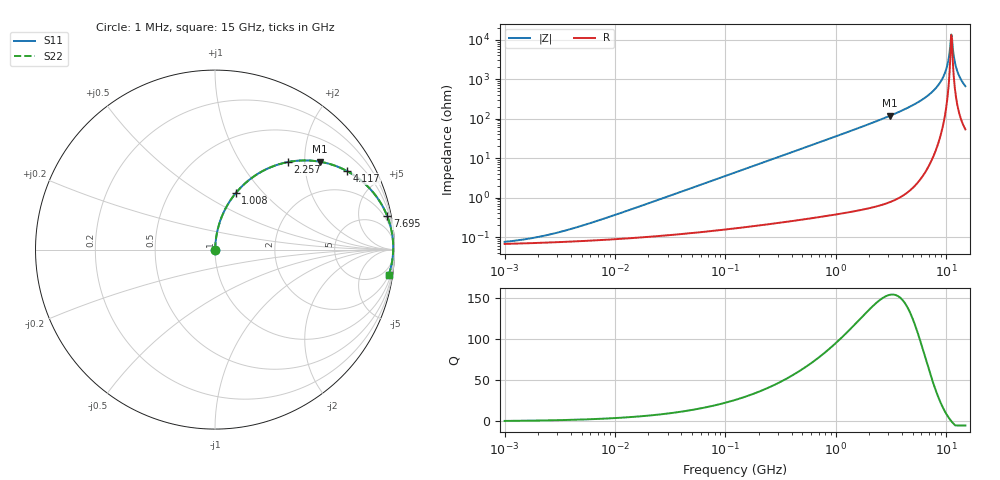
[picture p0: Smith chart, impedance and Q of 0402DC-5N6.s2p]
# MHz  S  MA  R  50
!Freq  MagS11  AngS11  MagS21  AngS21  MagS12  AngS12  MagS22  AngS22
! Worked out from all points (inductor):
!   801 points, 1 MHz to 15 GHz, reference 50 ohm
!   read as one part in series: L = 5.6 nH near 7.103 MHz
!   highest Q = 154 at 3.122 GHz (marker M1), where L = 6.07 nH
!   self-resonance near 11.17 GHz
!   S11 on the Smith chart (normalised r, x): 1 MHz: 1.00, +0.00; 1.008 GHz: 1.01, +0.72; 2.257 GHz: 1.01, +1.66; 4.117 GHz: 1.02, +3.35; 7.695 GHz: 1, +10; 15 GHz: 2, -13
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1  0.0007543 27.8  0.9993 -0.0  0.9993 -0.0  0.0007543 27.8
2.159231  0.001042 46.7  0.9993 -0.0  0.9993 -0.0  0.001042 46.7
5.011168  0.00193 65.8  0.9992 -0.1  0.9992 -0.1  0.00193 65.8
24.81158  0.008784 82.6  0.9989 -0.5  0.9989 -0.5  0.008784 82.6
122.8485  0.04315 85.3  0.9974 -2.5  0.9974 -2.5  0.04315 85.3
608.2547  0.2093 77.1  0.9749 -12.1  0.9749 -12.1  0.2093 77.1
1008.02  0.3356 69.8  0.9385 -19.6  0.9385 -19.6  0.3356 69.8
2256.518  0.6354 50.2  0.7678 -39.4  0.7678 -39.4  0.6354 50.2
3048.066  0.7545 40.7  0.6515 -49.0  0.6515 -49.0  0.7545 40.7
3122.276  0.7634 39.9  0.641 -49.8  0.641 -49.8  0.7634 39.9
4117.276  0.856 30.7  0.5112 -58.9  0.5112 -58.9  0.856 30.7
5906.263  0.9415 19.1  0.3273 -70.3  0.3273 -70.3  0.9415 19.1
7695.345  0.9775 11.0  0.1909 -77.8  0.1909 -77.8  0.9775 11.0
8783.867  0.9875 7.1  0.1235 -80.6  0.1235 -80.6  0.9875 7.1
9671.04  0.9916 4.3  0.0748 -81.4  0.0748 -81.4  0.9916 4.3
10270.47  0.9929 2.5  0.04464 -79.6  0.04464 -79.6  0.9929 2.5
10907.05  0.9931 0.8  0.01547 -63.2  0.01547 -63.2  0.9931 0.8
11172.6  0.993 0.1  0.007274 -14.3  0.007274 -14.3  0.993 0.1
11583.09  0.9924 -0.9  0.01797 64.4  0.01797 64.4  0.9924 -0.9
12153.97  0.9911 -2.3  0.04131 76.3  0.04131 76.3  0.9911 -2.3
12907.3  0.9885 -4.1  0.07126 78.7  0.07126 78.7  0.9885 -4.1
15000  0.9775 -8.4  0.1465 77.0  0.1465 77.0  0.9775 -8.4
